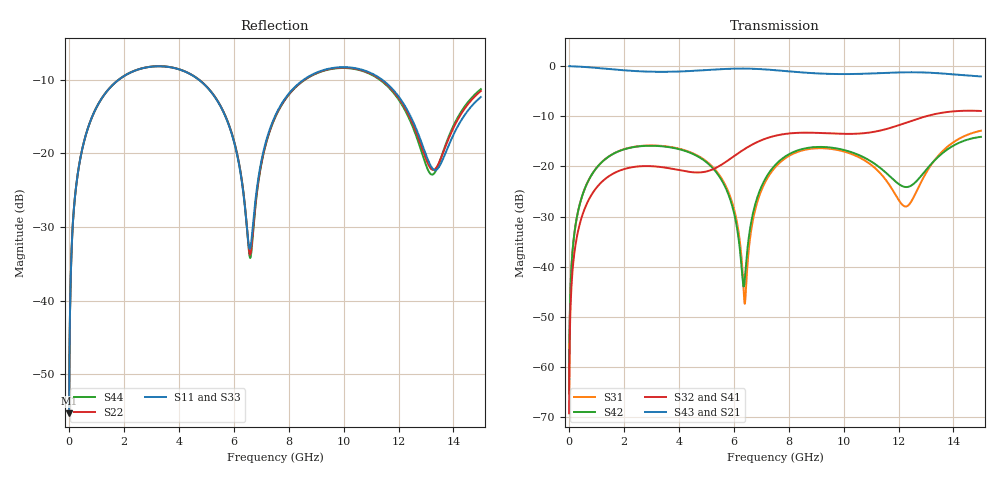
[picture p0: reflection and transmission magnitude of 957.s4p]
! Created with skrf 1.8.0 (http://scikit-rf.org).
# GHz S RI R 50.0
!freq ReS11 ImS11 ReS12 ImS12 ReS13 ImS13
! ReS14 ImS14
! ReS21 ImS21 ReS22 ImS22 ReS23 ImS23
! ReS24 ImS24
! ReS31 ImS31 ReS32 ImS32 ReS33 ImS33
! ReS34 ImS34
! ReS41 ImS41 ReS42 ImS42 ReS43 ImS43
! ReS44 ImS44
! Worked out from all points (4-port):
!   2499 points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, 5 MHz to 15 GHz, reference 50 ohm
!   strongest paths, dB at 5 MHz, 3.476 GHz, 7.19 GHz, 11.1 GHz, 15 GHz:
!     S43: 0.0, -1.1, -0.7, -1.5, -2.1
!     S21: 0.0, -1.1, -0.7, -1.5, -2.0
!     S32: -69.2, -20.2, -14.4, -13.1, -8.9
!     S41: -69.2, -20.3, -14.4, -13.2, -9.0
!     S42: -65.2, -16.0, -22.1, -19.3, -14.1
!     S31: -65.2, -16.0, -22.7, -20.1, -12.9
!   lowest |S11| = -55.3 dB at 5 MHz (marker M1), VSWR 1.00, Z = 50.1 + j0.104 ohm
!   |S11| at or under -10 dB: start of sweep to 1.801 GHz; 4.737 GHz to 8.535 GHz (3.798 GHz wide, 57.2 % of centre); 11.41 GHz to end of sweep
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0.005  0.00136 0.00103  0.9986 -0.00265  6.77e-05 0.000543  -6.58e-05 -0.000339
       0.9986 -0.00265  0.00136 0.00103  -6.58e-05 -0.000339  6.77e-05 0.000543
       6.77e-05 0.000543  -6.58e-05 -0.000339  0.00136 0.00103  0.9986 -0.00265
       -6.58e-05 -0.000339  6.77e-05 0.000543  0.9986 -0.00265  0.00136 0.00103
0.4126719  0.0268 0.0885  0.9629 -0.216  0.013 0.0421  -0.0107 -0.0259
           0.9629 -0.216  0.0268 0.0885  -0.0107 -0.0259  0.0128 0.0421
           0.013 0.0421  -0.0107 -0.0259  0.0268 0.0885  0.9629 -0.216
           -0.0107 -0.0259  0.0128 0.0421  0.9629 -0.216  0.0268 0.0885
1.975823  0.2857 0.172  0.5126 -0.7513  0.1366 0.0561  -0.0934 0.000243
          0.5126 -0.7513  0.2863 0.1715  -0.0935 0.000434  0.1349 0.0586
          0.1366 0.0561  -0.0935 0.000434  0.2857 0.172  0.5126 -0.7512
          -0.0934 0.000243  0.1349 0.0586  0.5126 -0.7512  0.2864 0.1714
5.270946  0.1698 -0.181  -0.6843 -0.6202  0.0452 -0.085  -0.0408 0.0845
          -0.6843 -0.6202  0.1685 -0.1834  -0.0394 0.0857  0.0532 -0.0773
          0.0452 -0.085  -0.0394 0.0857  0.1705 -0.1805  -0.6841 -0.6203
          -0.0408 0.0845  0.0532 -0.0773  -0.6841 -0.6203  0.1683 -0.1842
6.571488  0.0224 -0.00271  -0.9396 -0.0787  5.9e-06 0.0171  -0.0102 0.159
          -0.9396 -0.0787  0.0205 -0.00489  -0.00717 0.1592  0.011 0.0187
          5.9e-06 0.0171  -0.00717 0.1592  0.0236 -0.00352  -0.9396 -0.0791
          -0.0102 0.159  0.011 0.0187  -0.9396 -0.0791  0.0194 -0.00578
10.61067  0.3649 -0.0807  0.1423 0.8236  0.0765 -0.0943  0.1979 -0.0749
          0.1423 0.8236  0.3617 -0.0793  0.1967 -0.0815  0.0738 -0.1045
          0.0765 -0.0943  0.1967 -0.0815  0.3611 -0.0784  0.1429 0.825
          0.1979 -0.0749  0.0738 -0.1045  0.1429 0.825  0.3585 -0.0805
15  0.2168 0.1078  0.6225 -0.4881  0.2206 0.053  -0.2639 -0.2379
    0.6225 -0.4881  0.2378 0.119  -0.2735 -0.2297  0.1759 0.089
    0.2206 0.053  -0.2735 -0.2297  0.2197 0.1104  0.6201 -0.4883
    -0.2639 -0.2379  0.1759 0.089  0.6201 -0.4883  0.2431 0.1263
